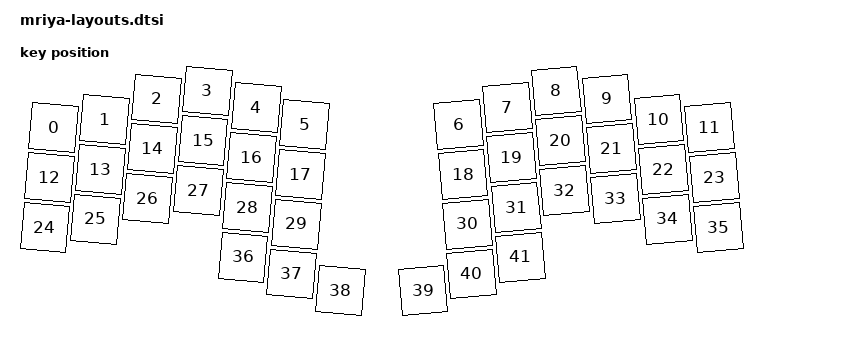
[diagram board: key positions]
#include <physical_layouts.dtsi>

/ {
    mriya_layout: mriya_layout_0 {
        compatible = "zmk,physical-layout";
        display-name = "MRIYA";
        kscan = <&kscan0>;
        transform = <&matrix_transform0>;

        keys  //                     w   h    x    y     rot    rx    ry
            = <&key_physical_attrs 100 100    0  100     500   700    50>
            , <&key_physical_attrs 100 100  100   75     500   700    50>
            , <&key_physical_attrs 100 100  200   25     500   700    50>
            , <&key_physical_attrs 100 100  300    0     500   700    50>
            , <&key_physical_attrs 100 100  400   25     500   700    50>
            , <&key_physical_attrs 100 100  500   50     500   700    50>
            , <&key_physical_attrs 100 100  800   50  (-500)   700    50>
            , <&key_physical_attrs 100 100  900   25  (-500)   700    50>
            , <&key_physical_attrs 100 100 1000    0  (-500)   700    50>
            , <&key_physical_attrs 100 100 1100   25  (-500)   700    50>
            , <&key_physical_attrs 100 100 1200   75  (-500)   700    50>
            , <&key_physical_attrs 100 100 1300  100  (-500)   700    50>
            , <&key_physical_attrs 100 100    0  200     500   700    50>
            , <&key_physical_attrs 100 100  100  175     500   700    50>
            , <&key_physical_attrs 100 100  200  125     500   700    50>
            , <&key_physical_attrs 100 100  300  100     500   700    50>
            , <&key_physical_attrs 100 100  400  125     500   700    50>
            , <&key_physical_attrs 100 100  500  150     500   700    50>
            , <&key_physical_attrs 100 100  800  150  (-500)   700    50>
            , <&key_physical_attrs 100 100  900  125  (-500)   700    50>
            , <&key_physical_attrs 100 100 1000  100  (-500)   700    50>
            , <&key_physical_attrs 100 100 1100  125  (-500)   700    50>
            , <&key_physical_attrs 100 100 1200  175  (-500)   700    50>
            , <&key_physical_attrs 100 100 1300  200  (-500)   700    50>
            , <&key_physical_attrs 100 100    0  300     500   700    50>
            , <&key_physical_attrs 100 100  100  275     500   700    50>
            , <&key_physical_attrs 100 100  200  225     500   700    50>
            , <&key_physical_attrs 100 100  300  200     500   700    50>
            , <&key_physical_attrs 100 100  400  225     500   700    50>
            , <&key_physical_attrs 100 100  500  250     500   700    50>
            , <&key_physical_attrs 100 100  800  250  (-500)   700    50>
            , <&key_physical_attrs 100 100  900  225  (-500)   700    50>
            , <&key_physical_attrs 100 100 1000  200  (-500)   700    50>
            , <&key_physical_attrs 100 100 1100  225  (-500)   700    50>
            , <&key_physical_attrs 100 100 1200  275  (-500)   700    50>
            , <&key_physical_attrs 100 100 1300  300  (-500)   700    50>
            , <&key_physical_attrs 100 100  400  325     500   700    50>
            , <&key_physical_attrs 100 100  500  350     500   700    50>
            , <&key_physical_attrs 100 100  600  375     500   700    50>
            , <&key_physical_attrs 100 100  700  375  (-500)   700    50>
            , <&key_physical_attrs 100 100  800  350  (-500)   700    50>
            , <&key_physical_attrs 100 100  900  325  (-500)   700    50>
            ;
    };

    mriya_position_map {
        compatible = "zmk,physical-layout-position-map";
        complete;

        origin { 
            physical-layout = <&mriya_layout>;
            positions
            = < 0  1  2  3  4  5  6  7  8  9 10 11>
            , <12 13 14 15 16 17 18 19 20 21 22 23>
            , <24 25 26 27 28 29 30 31 32 33 34 35>
            , <         36 37 38 39 40 41         >
            ;
        };

    };
};
